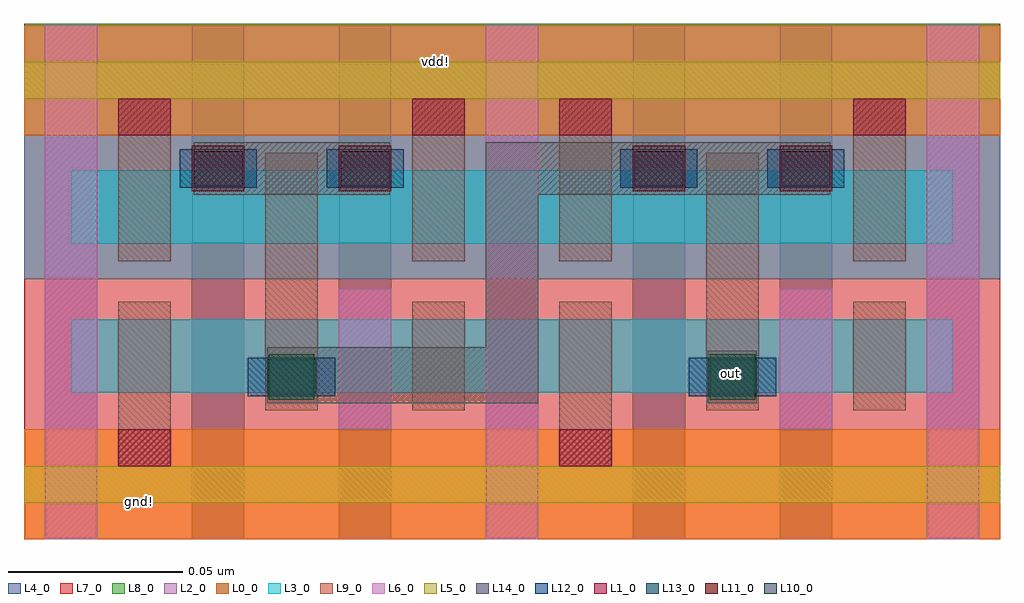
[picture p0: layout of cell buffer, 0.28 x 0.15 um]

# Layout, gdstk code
from math import pi, radians
import gdstk
lib = gdstk.Library(unit=1e-6, precision=5e-10)
def R(c, l, rs):  # rectangles x0, y0, x1, y1
    for r in rs: c.add(gdstk.rectangle(r[:2], r[2:], *l))
def A(c, l, x, y, w, h, nx, ny, dx, dy):  # array of equal rectangles
    R(c, l, [(x+i*dx, y+j*dy, x+i*dx+w, y+j*dy+h) for i in range(nx) for j in range(ny)])
L0_0 = (0, 0)
L1_0 = (1, 0)
L2_0 = (2, 0)
L3_0 = (3, 0)
L4_0 = (4, 0)
L5_0 = (5, 0)
L6_0 = (6, 0)
L7_0 = (7, 0)
L8_0 = (8, 0)
L9_0 = (9, 0)
L10_0 = (10, 0)
L11_0 = (11, 0)
L12_0 = (12, 0)
L13_0 = (13, 0)
L14_0 = (14, 0)

nmos = lib.new_cell('nmos')
R(nmos, L3_0, [(-0.042,-0.0105,0.042,0.0105)])
A(nmos, L4_0, -0.0495, -0.032, 0.015, 0.064, 3, 1, 0.042, 0)
R(nmos, L7_0, [(-0.0555,-0.021,0.0555,0.0205)])
R(nmos, L9_0, [(-0.0285,-0.0155,-0.0135,0.0155), (0.0135,-0.0155,0.0285,0.0155)])

pmos = lib.new_cell('pmos')
R(pmos, L2_0, [(-0.042,-0.0205,0.042,0.0205)])
R(pmos, L3_0, [(-0.042,-0.0105,0.042,0.0105)])
A(pmos, L4_0, -0.0495, -0.032, 0.015, 0.064, 3, 1, 0.042, 0)
R(pmos, L8_0, [(-0.0555,-0.0205,0.0555,0.0205)])
R(pmos, L9_0, [(-0.0285,-0.0155,-0.0135,0.0155), (0.0135,-0.0155,0.0285,0.0155)])

bpr_m0a = lib.new_cell('BPR_M0A')
R(bpr_m0a, L0_0, [(-0.021,-0.0055,0.021,0.026)])
R(bpr_m0a, L1_0, [(-0.0075,-0.0055,0.0075,0.005)])
R(bpr_m0a, L9_0, [(-0.0075,-0.0165,0.0075,0.005)])

m0a_m0b = lib.new_cell('M0A_M0B')
R(m0a_m0b, L9_0, [(-0.0075,-0.0055,0.0075,0.0055)])
R(m0a_m0b, L10_0, [(-0.0065,-0.0065,0.0065,0.0065)])
R(m0a_m0b, L12_0, [(-0.0125,-0.0055,0.0125,0.0055)])

gate_m0b = lib.new_cell('GATE_M0B')
R(gate_m0b, L4_0, [(-0.0075,-0.0115,0.0075,0.0115)])
R(gate_m0b, L11_0, [(-0.0075,-0.0065,0.0075,0.0065)])
R(gate_m0b, L12_0, [(-0.011,-0.0055,0.011,0.0055)])

m0b_m1 = lib.new_cell('M0B_M1')
R(m0b_m1, L12_0, [(-0.011,-0.005,0.011,0.005)])
R(m0b_m1, L13_0, [(-0.007,-0.005,0.007,0.005)])
R(m0b_m1, L14_0, [(-0.007,-0.0075,0.007,0.0075)])

inv = lib.new_cell('inv')
R(inv, L0_0, [(0,0,0.153,0.0315), (0.025,0.006,0.0415,0.016), (0,0.1155,0.153,0.147), (0.11,0.131,0.125,0.1425)])
R(inv, L2_0, [(0,0.0745,0.153,0.147)])
A(inv, L4_0, 0.006, 0, 0.015, 0.147, 4, 1, 0.042, 0)
R(inv, L5_0, [(0,0.0105,0.153,0.021), (0,0.126,0.153,0.1365)])
R(inv, L6_0, [(0.006,0,0.021,0.147), (0.132,0,0.147,0.147), (0.09,0.0315,0.105,0.0715)])
R(inv, L7_0, [(0,0,0.153,0.0745)])
R(inv, L8_0, [(0,0.075,0.153,0.1475)])
R(inv, L9_0, [(0.069,0.068,0.084,0.0795)])
R(inv, L12_0, [(0.0915,0.103,0.1055,0.1095)])
R(inv, L14_0, [(0.071,0.0415,0.0815,0.051), (0.0485,0.0985,0.1045,0.1135)])
inv.add(gdstk.Reference(nmos, (0.0975,0.0525)))
inv.add(gdstk.Reference(nmos, (0.0555,0.0525)))
inv.add(gdstk.Reference(pmos, (0.0975,0.095)))
inv.add(gdstk.Reference(pmos, (0.0555,0.095)))
inv.add(gdstk.Reference(bpr_m0a, (0.0345,0.026), rotation=pi))
inv.add(gdstk.Reference(bpr_m0a, (0.0345,0.121)))
inv.add(gdstk.Reference(bpr_m0a, (0.1185,0.121)))
inv.add(gdstk.Reference(m0a_m0b, (0.0765,0.0465)))
inv.add(gdstk.Reference(gate_m0b, (0.0555,0.106)))
inv.add(gdstk.Reference(gate_m0b, (0.0975,0.106)))
inv.add(gdstk.Reference(m0b_m1, (0.0555,0.106)))
inv.add(gdstk.Reference(m0b_m1, (0.0765,0.0465)))
inv.add(gdstk.Reference(m0b_m1, (0.0975,0.106)))
inv.add(gdstk.Label('vdd!', (0.1175,0.1365), layer=0, texttype=0))
inv.add(gdstk.Label('gnd!', (0.033,0.011), layer=0, texttype=0))
inv.add(gdstk.Label('out', (0.075,0.0435), layer=14, texttype=0))
inv.add(gdstk.Label('in', (0.0985,0.1045), layer=14, texttype=0))

buffer = lib.new_cell('buffer')
R(buffer, L0_0, [(0.045,0.0065,0.0615,0.0165), (0.13,0.1315,0.145,0.143)])
R(buffer, L14_0, [(0.0895,0.0395,0.167,0.0555), (0.152,0.0395,0.167,0.114), (0.217,0.0435,0.2275,0.053), (0.152,0.099,0.1945,0.114)])
buffer.add(gdstk.Reference(inv, (0.146,0.0005)))
buffer.add(gdstk.Reference(inv, (0.02,0.0005)))
buffer.add(gdstk.Label('out', (0.222,0.048), layer=14, texttype=0))
buffer.add(gdstk.Label('vdd!', (0.1375,0.137), layer=0, texttype=0))
buffer.add(gdstk.Label('gnd!', (0.053,0.0115), layer=0, texttype=0))

lib.write_gds('buffer.gds')
